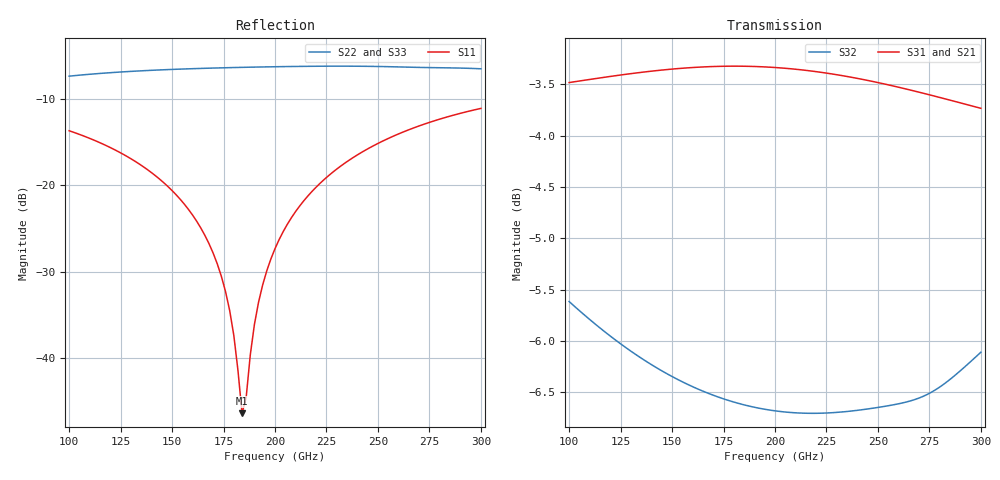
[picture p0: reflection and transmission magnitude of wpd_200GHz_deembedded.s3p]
! Created with skrf 2.0.1 (http://scikit-rf.org).
# GHz S DB R 50.0
!freq dBS11 angS11 dBS12 angS12 dBS13 angS13
! dBS21 angS21 dBS22 angS22 dBS23 angS23
! dBS31 angS31 dBS32 angS32 dBS33 angS33
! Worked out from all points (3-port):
!   101 points, 100 GHz to 300 GHz, reference 50 ohm
!   strongest paths, dB at 100 GHz, 150 GHz, 200 GHz, 250 GHz, 300 GHz:
!     S31: -3.5, -3.4, -3.3, -3.5, -3.7
!     S21: -3.5, -3.4, -3.3, -3.5, -3.7
!     S32: -5.6, -6.3, -6.7, -6.6, -6.1
!   lowest |S11| = -46.4 dB at 184 GHz (marker M1), VSWR 1.01, Z = 49.5 + j0.013 ohm
!   |S11| at or under -10 dB: start of sweep to end of sweep
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100  -13.66 142.7  -3.49 -42.0  -3.48 -42.0
     -3.49 -42.0  -7.34 53.5  -5.62 -98.0
     -3.48 -42.0  -5.62 -98.0  -7.35 53.4
138  -18.16 129.1  -3.38 -58.8  -3.38 -58.8
     -3.38 -58.8  -6.68 29.3  -6.21 -130.3
     -3.38 -58.8  -6.21 -130.3  -6.70 29.2
162  -24.16 121.8  -3.34 -69.6  -3.33 -69.6
     -3.34 -69.6  -6.45 16.6  -6.46 -150.1
     -3.33 -69.6  -6.46 -150.1  -6.47 16.6
176  -32.33 122.8  -3.33 -76.0  -3.32 -76.0
     -3.33 -76.0  -6.36 9.8  -6.57 -161.5
     -3.32 -76.0  -6.57 -161.5  -6.37 9.8
180  -37.39 129.9  -3.33 -77.8  -3.32 -77.8
     -3.33 -77.8  -6.34 8.0  -6.60 -164.8
     -3.32 -77.8  -6.60 -164.8  -6.35 7.9
184  -46.41 178.4  -3.33 -79.6  -3.32 -79.6
     -3.33 -79.6  -6.32 6.1  -6.62 -168.0
     -3.32 -79.6  -6.62 -168.0  -6.33 6.0
192  -33.54 -86.5  -3.33 -83.3  -3.33 -83.3
     -3.33 -83.3  -6.28 2.4  -6.65 -174.5
     -3.33 -83.3  -6.65 -174.5  -6.29 2.3
200  -27.33 -83.3  -3.34 -86.9  -3.34 -87.0
     -3.34 -86.9  -6.24 -1.3  -6.68 179.0
     -3.34 -87.0  -6.68 179.0  -6.26 -1.4
236  -17.07 -93.3  -3.43 -103.3  -3.43 -103.4
     -3.43 -103.3  -6.18 -18.0  -6.69 149.8
     -3.43 -103.4  -6.69 149.8  -6.19 -18.0
300  -11.07 -116.3  -3.74 -131.5  -3.73 -131.6
     -3.74 -131.5  -6.48 -51.6  -6.11 97.9
     -3.73 -131.6  -6.11 97.9  -6.50 -51.7
